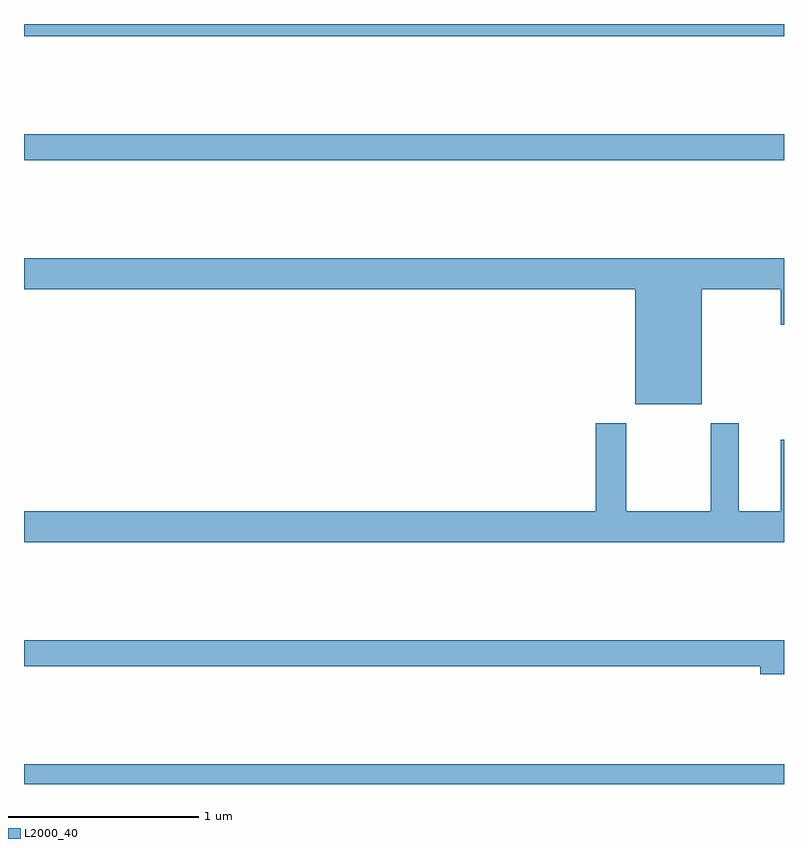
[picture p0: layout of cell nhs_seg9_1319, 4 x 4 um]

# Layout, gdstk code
import gdstk
lib = gdstk.Library(unit=1e-6, precision=1e-09)
def R(c, l, rs):  # rectangles x0, y0, x1, y1
    for r in rs: c.add(gdstk.rectangle(r[:2], r[2:], *l))
def P(c, l, *ps):  # polygons
    for p in ps: c.add(gdstk.Polygon(p, *l))
L2000_40 = (2000, 40)

nhs_seg9_1319 = lib.new_cell('nhs_seg9_1319')
R(nhs_seg9_1319, L2000_40, [(185,1176.5,189,1176.604), (185,1179.784,189,1179.92), (185,1180.436,189,1180.5)])
P(nhs_seg9_1319, L2000_40, [(188.566,1179.104),(188.984,1179.104),(188.984,1178.916),(189,1178.916),(189,1179.268),(185,1179.268),(185,1179.104),(188.216,1179.104),(188.216,1178.498),(188.566,1178.498)],
  [(189,1178.311),(188.984,1178.311),(188.984,1177.936),(188.761,1177.936),(188.761,1178.398),(188.614,1178.398),(188.614,1177.936),(188.169,1177.936),(188.169,1178.398),(188.009,1178.398),(188.009,1177.936),(185,1177.936),(185,1177.772),(189,1177.772)],
  [(189,1177.256),(185,1177.256),(185,1177.12),(188.876,1177.12),(188.876,1177.078),(189,1177.078)])

lib.write_gds('nhs_seg9_1319.gds')
